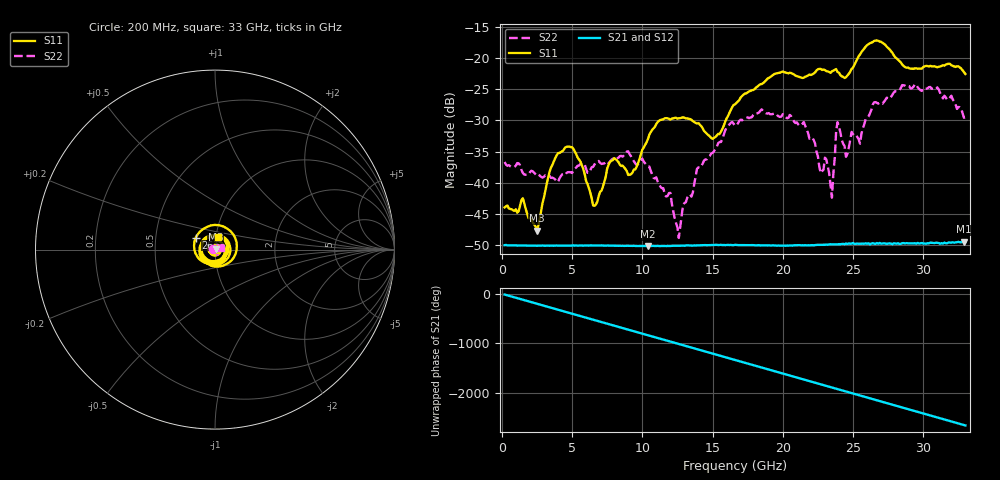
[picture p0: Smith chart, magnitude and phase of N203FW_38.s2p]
# GHZ S RI R 50
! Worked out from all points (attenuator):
!   329 points, 200 MHz to 33 GHz, reference 50 ohm
!   highest |S21| = -49.41 dB at 32.9 GHz (marker M1); lowest = -50.1 dB at 10.4 GHz (marker M2)
!   lowest |S11| = -47.6 dB at 2.5 GHz (marker M3), VSWR 1.01, Z = 50.3 + j0.227 ohm
!   |S11| at or under -10 dB: start of sweep to end of sweep
!   |S22| runs from -48.8 to -24.2 dB; largest |S21 - S12| = 8.8e-05
!   S11 on the Smith chart (normalised r, x): 200 MHz: 1.01, +0.00; 26 GHz: 0.80, +0.11; 33 GHz: 1.03, +0.15
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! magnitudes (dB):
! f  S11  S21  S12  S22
! 200 MHz  -43.9  -50.0  -49.9  -36.7
! 2.5 GHz  -47.6  -50.1  -50.0  -38.8
! 4 GHz  -35.2  -50.0  -50.0  -39.9
! 5.7 GHz  -37.2  -50.0  -50.0  -36.9
! 6.6 GHz  -43.7  -50.0  -50.0  -37.0
! 7.7 GHz  -36.7  -50.0  -50.0  -36.6
! 9.2 GHz  -38.6  -50.1  -50.0  -35.7
! 10.4 GHz  -33.0  -50.1  -50.1  -37.3
! 11.2 GHz  -30.0  -50.1  -50.1  -40.2
! 12.6 GHz  -29.7  -50.1  -50.0  -48.8
! 13.9 GHz  -30.5  -50.0  -50.0  -37.7
! 15 GHz  -32.9  -49.9  -49.9  -35.2
! 16.6 GHz  -27.4  -49.9  -49.9  -30.9
! 22.1 GHz  -22.6  -50.0  -49.9  -32.7
! 23.5 GHz  -22.1  -49.8  -49.8  -42.4
! 23.9 GHz  -22.3  -49.8  -49.8  -30.3
! 24.5 GHz  -23.1  -49.7  -49.7  -35.8
! 26 GHz  -18.0  -49.7  -49.7  -29.7
! 27.6 GHz  -18.6  -49.7  -49.7  -26.6
! 31 GHz  -21.5  -49.6  -49.6  -24.7
! 32.9 GHz  -22.3  -49.4  -49.4  -29.6
! 33 GHz  -22.6  -49.4  -49.5  -29.5
